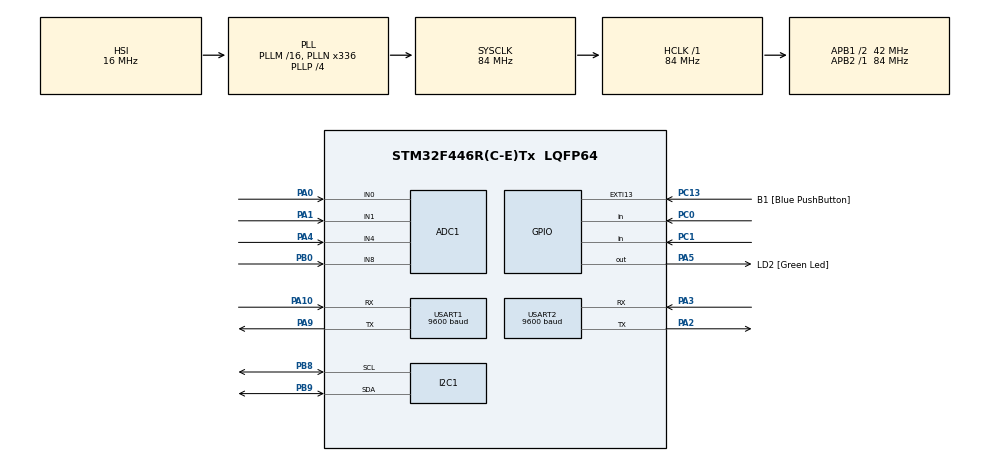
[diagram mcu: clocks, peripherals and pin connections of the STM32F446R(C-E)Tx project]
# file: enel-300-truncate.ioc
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ADC1.Channel-0\#ChannelRegularConversion=ADC_CHANNEL_0
ADC1.NbrOfConversionFlag=1
ADC1.Rank-0\#ChannelRegularConversion=1
ADC1.SamplingTime-0\#ChannelRegularConversion=ADC_SAMPLETIME_3CYCLES
ADC1.master=1
Mcu.Family=STM32F4
Mcu.Name=STM32F446R(C-E)Tx
Mcu.Package=LQFP64
NVIC.PriorityGroup=NVIC_PRIORITYGROUP_0
PA0-WKUP.Signal=ADCx_IN0
PA1.Signal=ADCx_IN1
PA10.Mode=Asynchronous
PA10.Signal=USART1_RX
PA13.GPIO_Label=TMS
PA13.Mode=Serial_Wire
PA13.Signal=SYS_JTMS-SWDIO
PA14.GPIO_Label=TCK
PA14.Mode=Serial_Wire
PA14.Signal=SYS_JTCK-SWCLK
PA2.Mode=Asynchronous
PA2.Signal=USART2_TX
PA3.Mode=Asynchronous
PA3.Signal=USART2_RX
PA4.Signal=ADCx_IN4
PA5.GPIO_Label=LD2 [Green Led]
PA5.Signal=GPIO_Output
PA9.Mode=Asynchronous
PA9.Signal=USART1_TX
PB0.Signal=ADCx_IN8
PB3.GPIO_Label=SWO
PB3.Signal=SYS_JTDO-SWO
PB8.Mode=I2C
PB8.Signal=I2C1_SCL
PB9.Mode=I2C
PB9.Signal=I2C1_SDA
PC0.Signal=GPIO_Input
PC1.Signal=GPIO_Input
PC13.GPIO_Label=B1 [Blue PushButton]
PC13.GPIO_ModeDefaultEXTI=GPIO_MODE_IT_FALLING
PC13.Signal=GPXTI13
PC14-OSC32_IN.Mode=LSE-External-Oscillator
PC14-OSC32_IN.Signal=RCC_OSC32_IN
PC15-OSC32_OUT.Mode=LSE-External-Oscillator
PC15-OSC32_OUT.Signal=RCC_OSC32_OUT
PH0-OSC_IN.Mode=HSE-External-Oscillator
PH0-OSC_IN.Signal=RCC_OSC_IN
PH1-OSC_OUT.Mode=HSE-External-Oscillator
PH1-OSC_OUT.Signal=RCC_OSC_OUT
ProjectManager.HeapSize=0x200
ProjectManager.StackSize=0x400
ProjectManager.TargetToolchain=STM32CubeIDE
RCC.48MHZClocksFreq_Value=84000000
RCC.AHBFreq_Value=84000000
RCC.APB1CLKDivider=RCC_HCLK_DIV2
RCC.APB1Freq_Value=42000000
RCC.APB1TimFreq_Value=84000000
RCC.APB2Freq_Value=84000000
RCC.APB2TimFreq_Value=84000000
RCC.CortexFreq_Value=84000000
RCC.FLatency-AdvancedSettings=FLASH_LATENCY_2
RCC.HCLKFreq_Value=84000000
RCC.HSE_VALUE=8000000
RCC.HSI_VALUE=16000000
RCC.PLLN=336
RCC.PLLP=RCC_PLLP_DIV4
RCC.SYSCLKFreq_VALUE=84000000
RCC.SYSCLKSource=RCC_SYSCLKSOURCE_PLLCLK
RCC.USBFreq_Value=168000000
RCC.VCOOutputFreq_Value=336000000
SH.ADCx_IN0.0=ADC1_IN0,IN0
SH.ADCx_IN1.0=ADC1_IN1,IN1
SH.ADCx_IN4.0=ADC1_IN4,IN4
SH.ADCx_IN8.0=ADC1_IN8,IN8
USART1.BaudRate=9600
USART1.VirtualMode=VM_ASYNC
USART2.BaudRate=9600
USART2.VirtualMode=VM_ASYNC
board=NUCLEO-F446RE

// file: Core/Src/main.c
/* USER CODE BEGIN Header */
/**
  ******************************************************************************
  * @file           : main.c
  * @brief          : Main program body
  ******************************************************************************
  * @attention
  *
  * Copyright (c) 2026 STMicroelectronics.
  * All rights reserved.
  *
  * This software is licensed under terms that can be found in the LICENSE file
  * in the root directory of this software component.
  * If no LICENSE file comes with this software, it is provided AS-IS.
  *
  ******************************************************************************
  */
/* USER CODE END Header */
#include "main.h"
#include <liquidcrystal_i2c.h>
#include <stdio.h>
#include <string.h>

ADC_HandleTypeDef hadc1;

I2C_HandleTypeDef hi2c1;

UART_HandleTypeDef huart1;
UART_HandleTypeDef huart2;

/* USER CODE BEGIN PV */
char btRxLine[64];
uint8_t btRxIndex = 0;

uint32_t lastControlSendMs = 0;

#define CONTROL_TX_PERIOD_MS 40U
/* USER CODE END PV */

void SystemClock_Config(void);
static void MX_GPIO_Init(void);
static void MX_ADC1_Init(void);
static void MX_USART2_UART_Init(void);
static void MX_I2C1_Init(void);
static void MX_USART1_UART_Init(void);
/* USER CODE BEGIN PFP */
uint16_t Read_ADC_Channel(uint32_t channel);
void Send_ControlPacket(void);
void Process_BT_Receive(void);
void Update_LCD_Line2(const char *text);
uint16_t Apply_ADC_Deadband(uint16_t value, uint16_t center, uint16_t band);
/* USER CODE END PFP */

int main(void)
{

  /* MCU Configuration--------------------------------------------------------*/

  /* Reset of all peripherals, Initializes the Flash interface and the Systick. */
  HAL_Init();

  /* Configure the system clock */
  SystemClock_Config();

  /* Initialize all configured peripherals */
  MX_GPIO_Init();
  MX_ADC1_Init();
  MX_USART2_UART_Init();
  MX_I2C1_Init();
  MX_USART1_UART_Init();
  /* USER CODE BEGIN 2 */

  /* UI startup */
  lcd_init();
  lcd_put_cur(0, 3);
  lcd_send_string("Distance:");

  /* Give HC-05 and the peer node time to boot */
  HAL_Delay(2000);

  /* Send a first packet early so the car has immediate valid control input */
  lastControlSendMs = HAL_GetTick() - 30;
  Send_ControlPacket();

  printf("Controller ready\r\n");

  /* USER CODE END 2 */

  /* Infinite loop */
  while (1)
  {

    /* USER CODE BEGIN 3 */
    /* Periodic transmit of joystick + button state */
    uint32_t now = HAL_GetTick();

    if ((now - lastControlSendMs) >= CONTROL_TX_PERIOD_MS)
    {
        lastControlSendMs = now;
        Send_ControlPacket();
    }

    /* Non-blocking receive of distance feedback for LCD updates */
    Process_BT_Receive();
  }

  }
  /* USER CODE END 3 */

void SystemClock_Config(void)
{
  RCC_OscInitTypeDef RCC_OscInitStruct = {0};
  RCC_ClkInitTypeDef RCC_ClkInitStruct = {0};

  /** Configure the main internal regulator output voltage
  */
  __HAL_RCC_PWR_CLK_ENABLE();
  __HAL_PWR_VOLTAGESCALING_CONFIG(PWR_REGULATOR_VOLTAGE_SCALE3);

  /** Initializes the RCC Oscillators according to the specified parameters
  * in the RCC_OscInitTypeDef structure.
  */
  RCC_OscInitStruct.OscillatorType = RCC_OSCILLATORTYPE_HSI;
  RCC_OscInitStruct.HSIState = RCC_HSI_ON;
  RCC_OscInitStruct.HSICalibrationValue = RCC_HSICALIBRATION_DEFAULT;
  RCC_OscInitStruct.PLL.PLLState = RCC_PLL_ON;
  RCC_OscInitStruct.PLL.PLLSource = RCC_PLLSOURCE_HSI;
  RCC_OscInitStruct.PLL.PLLM = 16;
  RCC_OscInitStruct.PLL.PLLN = 336;
  RCC_OscInitStruct.PLL.PLLP = RCC_PLLP_DIV4;
  RCC_OscInitStruct.PLL.PLLQ = 2;
  RCC_OscInitStruct.PLL.PLLR = 2;
  if (HAL_RCC_OscConfig(&RCC_OscInitStruct) != HAL_OK)
  {
    Error_Handler();
  }

  /** Initializes the CPU, AHB and APB buses clocks
  */
  RCC_ClkInitStruct.ClockType = RCC_CLOCKTYPE_HCLK|RCC_CLOCKTYPE_SYSCLK
                              |RCC_CLOCKTYPE_PCLK1|RCC_CLOCKTYPE_PCLK2;
  RCC_ClkInitStruct.SYSCLKSource = RCC_SYSCLKSOURCE_PLLCLK;
  RCC_ClkInitStruct.AHBCLKDivider = RCC_SYSCLK_DIV1;
  RCC_ClkInitStruct.APB1CLKDivider = RCC_HCLK_DIV2;
  RCC_ClkInitStruct.APB2CLKDivider = RCC_HCLK_DIV1;

  if (HAL_RCC_ClockConfig(&RCC_ClkInitStruct, FLASH_LATENCY_2) != HAL_OK)
  {
    Error_Handler();
  }
}

static void MX_ADC1_Init(void)
{

  ADC_ChannelConfTypeDef sConfig = {0};

  /** Configure the global features of the ADC (Clock, Resolution, Data Alignment and number of conversion)
  */
  hadc1.Instance = ADC1;
  hadc1.Init.ClockPrescaler = ADC_CLOCK_SYNC_PCLK_DIV4;
  hadc1.Init.Resolution = ADC_RESOLUTION_12B;
  hadc1.Init.ScanConvMode = DISABLE;
  hadc1.Init.ContinuousConvMode = DISABLE;
  hadc1.Init.DiscontinuousConvMode = DISABLE;
  hadc1.Init.ExternalTrigConvEdge = ADC_EXTERNALTRIGCONVEDGE_NONE;
  hadc1.Init.ExternalTrigConv = ADC_SOFTWARE_START;
  hadc1.Init.DataAlign = ADC_DATAALIGN_RIGHT;
  hadc1.Init.NbrOfConversion = 1;
  hadc1.Init.DMAContinuousRequests = DISABLE;
  hadc1.Init.EOCSelection = ADC_EOC_SINGLE_CONV;
  if (HAL_ADC_Init(&hadc1) != HAL_OK)
  {
    Error_Handler();
  }

  /** Configure for the selected ADC regular channel its corresponding rank in the sequencer and its sample time.
  */
  sConfig.Channel = ADC_CHANNEL_0;
  sConfig.Rank = 1;
  sConfig.SamplingTime = ADC_SAMPLETIME_3CYCLES;
  if (HAL_ADC_ConfigChannel(&hadc1, &sConfig) != HAL_OK)
  {
    Error_Handler();
  }

}

static void MX_I2C1_Init(void)
{

  hi2c1.Instance = I2C1;
  hi2c1.Init.ClockSpeed = 100000;
  hi2c1.Init.DutyCycle = I2C_DUTYCYCLE_2;
  hi2c1.Init.OwnAddress1 = 0;
  hi2c1.Init.AddressingMode = I2C_ADDRESSINGMODE_7BIT;
  hi2c1.Init.DualAddressMode = I2C_DUALADDRESS_DISABLE;
  hi2c1.Init.OwnAddress2 = 0;
  hi2c1.Init.GeneralCallMode = I2C_GENERALCALL_DISABLE;
  hi2c1.Init.NoStretchMode = I2C_NOSTRETCH_DISABLE;
  if (HAL_I2C_Init(&hi2c1) != HAL_OK)
  {
    Error_Handler();
  }

}

static void MX_USART1_UART_Init(void)
{

  huart1.Instance = USART1;
  huart1.Init.BaudRate = 9600;
  huart1.Init.WordLength = UART_WORDLENGTH_8B;
  huart1.Init.StopBits = UART_STOPBITS_1;
  huart1.Init.Parity = UART_PARITY_NONE;
  huart1.Init.Mode = UART_MODE_TX_RX;
  huart1.Init.HwFlowCtl = UART_HWCONTROL_NONE;
  huart1.Init.OverSampling = UART_OVERSAMPLING_16;
  if (HAL_UART_Init(&huart1) != HAL_OK)
  {
    Error_Handler();
  }

}

static void MX_USART2_UART_Init(void)
{

  huart2.Instance = USART2;
  huart2.Init.BaudRate = 9600;
  huart2.Init.WordLength = UART_WORDLENGTH_8B;
  huart2.Init.StopBits = UART_STOPBITS_1;
  huart2.Init.Parity = UART_PARITY_NONE;
  huart2.Init.Mode = UART_MODE_TX_RX;
  huart2.Init.HwFlowCtl = UART_HWCONTROL_NONE;
  huart2.Init.OverSampling = UART_OVERSAMPLING_16;
  if (HAL_UART_Init(&huart2) != HAL_OK)
  {
    Error_Handler();
  }

}

static void MX_GPIO_Init(void)
{
  GPIO_InitTypeDef GPIO_InitStruct = {0};

  /* GPIO Ports Clock Enable */
  __HAL_RCC_GPIOC_CLK_ENABLE();
  __HAL_RCC_GPIOH_CLK_ENABLE();
  __HAL_RCC_GPIOA_CLK_ENABLE();
  __HAL_RCC_GPIOB_CLK_ENABLE();

  /*Configure GPIO pin Output Level */
  HAL_GPIO_WritePin(LD2_GPIO_Port, LD2_Pin, GPIO_PIN_RESET);

  /*Configure GPIO pin : B1_Pin */
  GPIO_InitStruct.Pin = B1_Pin;
  GPIO_InitStruct.Mode = GPIO_MODE_IT_FALLING;
  GPIO_InitStruct.Pull = GPIO_NOPULL;
  HAL_GPIO_Init(B1_GPIO_Port, &GPIO_InitStruct);

  /*Configure GPIO pins : PC0 PC1 */
  GPIO_InitStruct.Pin = GPIO_PIN_0|GPIO_PIN_1;
  GPIO_InitStruct.Mode = GPIO_MODE_INPUT;
  GPIO_InitStruct.Pull = GPIO_NOPULL;
  HAL_GPIO_Init(GPIOC, &GPIO_InitStruct);

  /*Configure GPIO pin : LD2_Pin */
  GPIO_InitStruct.Pin = LD2_Pin;
  GPIO_InitStruct.Mode = GPIO_MODE_OUTPUT_PP;
  GPIO_InitStruct.Pull = GPIO_NOPULL;
  GPIO_InitStruct.Speed = GPIO_SPEED_FREQ_LOW;
  HAL_GPIO_Init(LD2_GPIO_Port, &GPIO_InitStruct);

}

/* USER CODE BEGIN 4 */
uint16_t Apply_ADC_Deadband(uint16_t value, uint16_t center, uint16_t band)
{
    if (value > (center - band) && value < (center + band))
        return center;
    return value;
}

int _write(int file, char *ptr, int len)
{
    HAL_UART_Transmit(&huart2, (uint8_t*)ptr, len, HAL_MAX_DELAY);
    return len;
}

uint16_t Read_ADC_Channel(uint32_t channel)
{
    ADC_ChannelConfTypeDef sConfig = {0};
    uint32_t sum = 0;

    sConfig.Channel = channel;
    sConfig.Rank = 1;
    sConfig.SamplingTime = ADC_SAMPLETIME_84CYCLES;

    HAL_ADC_ConfigChannel(&hadc1, &sConfig);

    for (int i = 0; i < 4; i++)
    {
        HAL_ADC_Start(&hadc1);
        HAL_ADC_PollForConversion(&hadc1, HAL_MAX_DELAY);
        sum += HAL_ADC_GetValue(&hadc1);
        HAL_ADC_Stop(&hadc1);
    }

    return (uint16_t)(sum / 4);
}

void Update_LCD_Line2(const char *text)
{
    char line[17];
    int len = strlen(text);
    int col = 0;

    memset(line, ' ', 16);
    line[16] = '\0';

    if (len > 16) len = 16;
    col = (16 - len) / 2;
    if (col < 0) col = 0;
    memcpy(&line[col], text, len);

    lcd_put_cur(1, 0);
    lcd_send_string(line);
}

void Send_ControlPacket(void)
{
    uint16_t joy1_x = Read_ADC_Channel(ADC_CHANNEL_0); // PA0 = SW1_X
    uint16_t joy2_y = Read_ADC_Channel(ADC_CHANNEL_8); // PB0 = SW2_Y

    /* Apply a small center deadband to reduce idle jitter */
    joy1_x = Apply_ADC_Deadband(joy1_x, 2048, 48);
    joy2_y = Apply_ADC_Deadband(joy2_y, 2048, 48);

    // Read B1 state (Assumes active-low. GPIO_PIN_RESET means button is pressed)
    uint8_t b1_pressed = (HAL_GPIO_ReadPin(B1_GPIO_Port, B1_Pin) == GPIO_PIN_RESET) ? 1 : 0;

    char tx[32];
    // Format: "C,throttle,steering,b1_state\n"
    snprintf(tx, sizeof(tx), "C,%u,%u,%d\n", joy2_y, joy1_x, b1_pressed);

    HAL_UART_Transmit(&huart1, (uint8_t*)tx, strlen(tx), 20);
}

void Process_BT_Receive(void)
{
    uint8_t ch;

    while (HAL_UART_Receive(&huart1, &ch, 1, 0) == HAL_OK)
    {
        // Only collect frames that begin with 'D' to ignore random/noisy bytes.
        if (btRxIndex == 0)
        {
            if (ch == 'D')
            {
                btRxLine[btRxIndex++] = (char)ch;
            }
            continue;
        }

        if (ch == '\n')
        {
            btRxLine[btRxIndex] = '\0';

            printf("CTRL RX RAW: %s\r\n", btRxLine);

            if (strncmp(btRxLine, "D:", 2) == 0)
            {
                if (strcmp(btRxLine + 2, "TOO FAR") == 0)
                {
                    Update_LCD_Line2("TOO FAR");
                }
                else
                {
                    const char *payload = btRxLine + 2;
                    size_t payloadLen = strlen(payload);
                    size_t dotCount = 0;
                    size_t i;
                    uint8_t valid = (payloadLen > 0) ? 1U : 0U;

                    for (i = 0; i < payloadLen && valid; i++)
                    {
                        char c = payload[i];
                        if (c == '.')
                        {
                            dotCount++;
                            if (dotCount > 1U) valid = 0U;
                        }
                        else if (c < '0' || c > '9')
                        {
                            valid = 0U;
                        }
                    }

                    if (!valid) {
                        btRxIndex = 0;
                        continue;
                    }

                    char displayText[20];
                    snprintf(displayText, sizeof(displayText), "%s cm", payload);
                    Update_LCD_Line2(displayText);
                }
            }

            btRxIndex = 0;
        }
        else
        {
            if (ch != '\r')
            {
                if (btRxIndex < sizeof(btRxLine) - 1)
                {
                    btRxLine[btRxIndex++] = (char)ch;
                }
                else
                {
                    btRxIndex = 0;
                }
            }
        }
    }
}
/* USER CODE END 4 */

void Error_Handler(void)
{
  __disable_irq();
  while (1)
  {
  }
}
